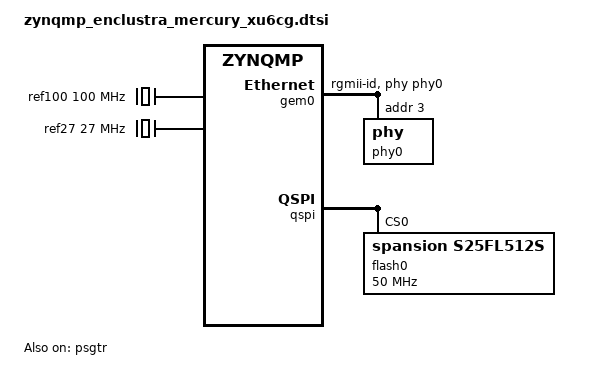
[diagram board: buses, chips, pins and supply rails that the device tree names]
/ {
	aliases {
		ethernet0 = &gem0;
		i2c0 = &i2c0;
		serial0 = &uart0;
		spi0 = &qspi;
	};
	pmu {
		/delete-property/ interrupt-affinity;
		interrupt-affinity = <&cpu0>, <&cpu1>;
	};
};

&gem0 {
	status = "okay";
	/delete-property/ local-mac-address;
	phy-mode = "rgmii-id";
	phy-handle = <&phy0>;
	phy0: phy@3 {
		reg = <3>;

		/* Delays for KSZ9031 PHY */
		txc-skew-ps = <1800>;
		txen-skew-ps = <420>;
		txd0-skew-ps = <420>;
		txd1-skew-ps = <420>;
		txd2-skew-ps = <420>;
		txd3-skew-ps = <420>;

		rxc-skew-ps = <900>;
		rxdv-skew-ps = <420>;
		rxd0-skew-ps = <420>;
		rxd1-skew-ps = <420>;
		rxd2-skew-ps = <420>;
		rxd3-skew-ps = <420>;

		/* Delays for KSZ9131 PHY */
		txc-skew-psec = <900>;
		txen-skew-psec = <0>;
		txd0-skew-psec = <0>;
		txd1-skew-psec = <0>;
		txd2-skew-psec = <0>;
		txd3-skew-psec = <0>;

		rxc-skew-psec = <0>;
		rxdv-skew-psec = <0>;
		rxd0-skew-psec = <0>;
		rxd1-skew-psec = <0>;
		rxd2-skew-psec = <0>;
		rxd3-skew-psec = <0>;
	};
};

&qspi {
	status = "okay";
	#address-cells = <1>;
	#size-cells = <0>;
	is-dual = <0>;
	num-cs = <1>;
	flash0: flash@0 {
		reg = <0x0>;
		compatible = "spansion,s25fl512s", "jedec,spi-nor";
		spi-rx-bus-width = <0x4>;
		spi-tx-bus-width = <0x4>;
		spi-max-frequency = <50000000>;
		#address-cells = <1>;
		#size-cells = <1>;
	};
};

&psgtr {
	status = "okay";
	clocks = <&ref100>, <&ref27>;
	clock-names = "ref2", "ref3";
};

&amba {
	ref100: ref100M {
		compatible = "fixed-clock";
		#clock-cells = <0>;
		clock-frequency = <100000000>;
	};
	ref27: ref27M {
		compatible = "fixed-clock";
		#clock-cells = <0>;
		clock-frequency = <27000000>;
	};
};

